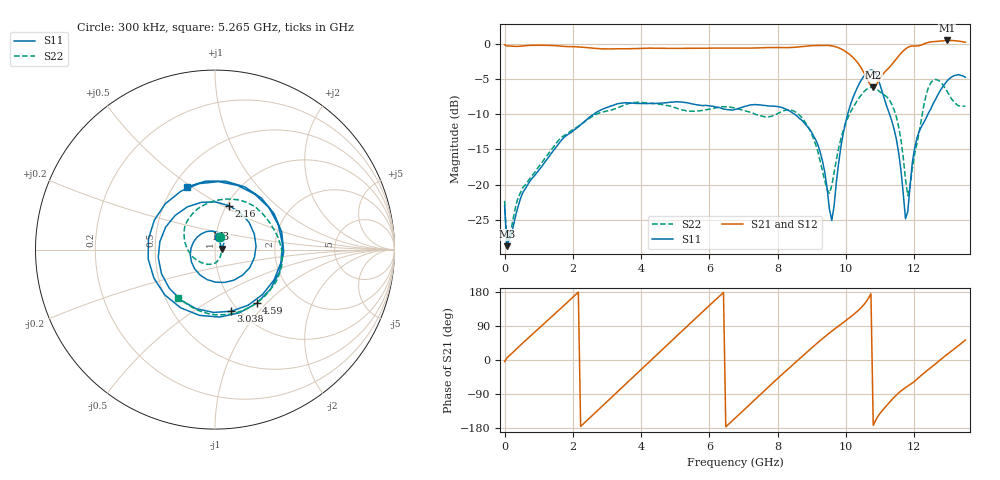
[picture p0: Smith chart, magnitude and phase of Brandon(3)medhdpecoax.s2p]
!Agilent Technologies,N5230C,MY48100320,A.08.04.10
!Agilent N5230C: A.08.04.10
!Date: Thursday, July 07, 2016 05:29:28
!Correction: S11(Full 2 Port(1,2))
!S21(Full 2 Port(1,2))
!S12(Full 2 Port(1,2))
!S22(Full 2 Port(1,2))
!S2P File: Measurements: S11, S21, S12, S22:
# Hz S  dB  R 50
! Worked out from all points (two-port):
!   201 points, 300 kHz to 13.5 GHz, reference 50 ohm
!   highest |S21| = 0.44 dB at 12.96 GHz (marker M1); lowest = -6.2 dB at 10.8 GHz (marker M2)
!   |S21| within 3 dB of the highest: start of sweep to 10.32 GHz; 11.41 GHz to end of sweep
!   lowest |S11| = -28.7 dB at 67.8 MHz (marker M3), VSWR 1.08, Z = 53.8 + j0.477 ohm
!   |S11| at or under -10 dB: start of sweep to 2.611 GHz; 8.493 GHz to 10.05 GHz (1.559 GHz wide, 16.8 % of centre); 11.28 GHz to 12.4 GHz (1.125 GHz wide, 9.5 % of centre)
!   |S22| runs from -28.7 to -5.1 dB; largest |S21 - S12| = 0.0024
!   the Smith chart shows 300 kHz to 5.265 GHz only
!   S11 on the Smith chart (normalised r, x): 300 kHz: 1.03, +0.14; 2.16 GHz: 1.03, +0.54; 3.038 GHz: 0.92, -0.73; 4.59 GHz: 1.26, -0.88; 5.265 GHz: 0.58, +0.48
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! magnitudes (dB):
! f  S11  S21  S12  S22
! 300 kHz  -23.0  -0.2  -0.2  -22.3
! 67.8 MHz  -28.7  -0.3  -0.3  -28.7
! 540.3 MHz  -21.1  -0.3  -0.3  -20.4
! 2.16 GHz  -11.8  -0.5  -0.5  -11.7
! 2.295 GHz  -11.2  -0.5  -0.5  -11.2
! 3.038 GHz  -9.0  -0.8  -0.7  -9.5
! 4.523 GHz  -8.5  -0.7  -0.6  -8.6
! 4.59 GHz  -8.4  -0.7  -0.7  -8.6
! 5.265 GHz  -8.3  -0.7  -0.7  -9.5
! 6.75 GHz  -9.3  -0.6  -0.6  -9.1
! 9.045 GHz  -13.0  -0.3  -0.3  -13.5
! 9.585 GHz  -25.1  -0.3  -0.3  -20.2
! 10.06 GHz  -9.9  -1.3  -1.3  -10.5
! 10.8 GHz  -3.8  -6.2  -6.2  -6.2
! 11.27 GHz  -9.9  -3.4  -3.4  -8.0
! 11.54 GHz  -15.4  -1.8  -1.8  -11.7
! 11.75 GHz  -24.8  -0.8  -0.8  -19.2
! 11.81 GHz  -23.8  -0.5  -0.5  -21.6
! 12.02 GHz  -14.8  -0.3  -0.3  -15.6
! 12.42 GHz  -9.8  0.2  0.2  -6.2
! 12.96 GHz  -5.3  0.4  0.4  -6.7
! 13.5 GHz  -4.8  0.2  0.2  -8.8
